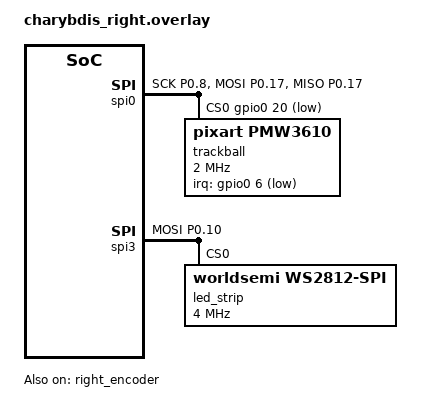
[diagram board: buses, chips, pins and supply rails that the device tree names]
/*
 * Copyright (c) 2020 ZMK Contributors
 *
 * SPDX-License-Identifier: MIT
 */
 
#include "charybdis.dtsi"
#include <input/processors.dtsi>

&default_transform {
    col-offset = <5>;
}; 

&kscan0 {
	col-gpios
		= <&gpio0 2 (GPIO_ACTIVE_HIGH | GPIO_PULL_DOWN)>
		, <&gpio0 29 (GPIO_ACTIVE_HIGH | GPIO_PULL_DOWN)>
		, <&gpio0 9 (GPIO_ACTIVE_HIGH | GPIO_PULL_DOWN)>
		, <&gpio1 0  (GPIO_ACTIVE_HIGH | GPIO_PULL_DOWN)>
		, <&gpio0 11 (GPIO_ACTIVE_HIGH | GPIO_PULL_DOWN)>
		
		;
};
&right_encoder {
    status = "okay";
};

// trackball bus
&pinctrl {
    spi0_default: spi0_default {
        group1 {
            psels = <NRF_PSEL(SPIM_SCK, 0, 8)>,
                <NRF_PSEL(SPIM_MOSI, 0, 17)>,
                <NRF_PSEL(SPIM_MISO, 0, 17)>;
        };
    };

    spi0_sleep: spi0_sleep {
        group1 {
            psels = <NRF_PSEL(SPIM_SCK, 0, 8)>,
                <NRF_PSEL(SPIM_MOSI, 0, 17)>,
                <NRF_PSEL(SPIM_MISO, 0, 17)>;
            low-power-enable;
        };
    };
};

&spi0 {
    status = "okay";
    compatible = "nordic,nrf-spim";
    pinctrl-0 = <&spi0_default>;
    pinctrl-1 = <&spi0_sleep>;
    pinctrl-names = "default", "sleep";
    cs-gpios = <&gpio0 20 GPIO_ACTIVE_LOW>;

    trackball: trackball@0 {
        status = "okay";
        compatible = "pixart,pmw3610";
        reg = <0>;
        spi-max-frequency = <2000000>;
        irq-gpios = <&gpio0 6 (GPIO_ACTIVE_LOW | GPIO_PULL_UP)>;
        scroll-layers = <9>;  // capa "scroll" del keymap (pulgar izquierdo más alejado o K)
        //snipe-layers = <2>;
      // automouse-layer = <3>;
    };
};


//RGB bus
&pinctrl {
    spi3_default: spi3_default {
        group1 {
            psels = <NRF_PSEL(SPIM_MOSI, 0, 10)>;
        };
    };

    spi3_sleep: spi3_sleep {
        group1 {
            psels = <NRF_PSEL(SPIM_MOSI, 0, 10)>;
            low-power-enable;
        };
    };
};

&spi3 {
    compatible = "nordic,nrf-spim";
    status = "okay";

    pinctrl-0 = <&spi3_default>;
    pinctrl-1 = <&spi3_sleep>;
    pinctrl-names = "default", "sleep";

    led_strip: ws2812@0 {
        compatible = "worldsemi,ws2812-spi";

        /* SPI */
        reg = <0>; /* ignored, but necessary for SPI bindings */
        spi-max-frequency = <4000000>;

        /* WS2812 */
        chain-length = <18>; /* number of LEDs */
        spi-one-frame = <0x70>;
        spi-zero-frame = <0x40>;
        color-mapping = <LED_COLOR_ID_GREEN
                         LED_COLOR_ID_RED
                         LED_COLOR_ID_BLUE>;
    };
};



/ {
    trackball_listener {
        compatible = "zmk,input-listener";
        device = <&trackball>;
        // Al mover la bola se enciende la capa 8 del keymap (automouse: clics en
        // U, I y O, y scroll manteniendo la K) y se apaga a los 600 ms sin moverla.
        input-processors = <&zip_temp_layer 8 600>;
    };
};

// Cuándo no se enciende, o se apaga antes, la capa automouse:
// - require-prior-idle-ms: no se enciende si has tecleado hace menos de 400 ms,
//   para que rozar la bola mientras escribes no la active.
// - excluded-positions: teclas que no la apagan al pulsarlas: U, I y O (6 7 8),
//   la K (17), el pulgar de scroll (32) y el del clic (33). Cualquier otra la
//   apaga en el acto y se escribe normal.
&zip_temp_layer {
    require-prior-idle-ms = <400>;
    excluded-positions = <6 7 8 17 32 33>;
};


